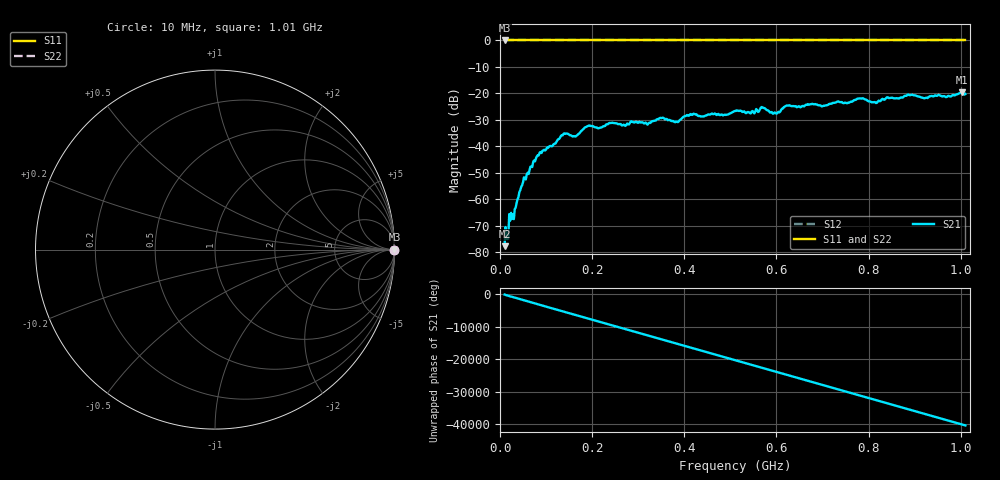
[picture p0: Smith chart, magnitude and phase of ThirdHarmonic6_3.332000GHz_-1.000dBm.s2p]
! 8/17/2025 10:28:14 AM
! C:\ANRITSUVNA\TEMP\TEMP.S2P
! CHANNEL.1
! TR.MEASUREMENT
! RAW.DATA
! RF.CORRECTION.OFF
! AVERAGING.OFF
! IF.BANDWIDTH: 5KHZ
! SWEEPTYPE:  FREQ.SWEEP(Linear)
! Reference Plane Port Info
! PORT:  PORT1  PORT2
! DISTANCE:  0  m  0  m
! TIME:  0  s  0  s
! PHASE.OFFSET:  0  deg.  0  deg.
! LOSS:  0  dB  0  dB
! REF.LOSS:  0  dB  0  dB
! REF.FREQ:  0  Hz  0  Hz
! Power Info
! POWER:  -20  dBm  -20  dBm
! EFF.POWER:  -20  dBm  -20  dBm
! SOURCE.ATTEN:  0  dB  0  dB
! TEST.ATTEN:  0  dB  0  dB
# GHZ S RI R 50.0
! FREQ.GHZ  S11RE  S11IM  S21RE  S21IM  S12RE  S12IM  S22RE  S22IM
!; PortSelection: Port_12
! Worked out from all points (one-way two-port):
!   501 points, 10 MHz to 1.01 GHz, reference 50 ohm
!   highest |S21| = -19.56 dB at 1.002 GHz (marker M1); lowest = -77.7 dB at 10 MHz (marker M2)
!   lowest |S11| = 0.0 dB at 10 MHz (marker M3)
!   |S11| at or under -10 dB: nowhere
!   |S22| runs from 0.0 to 0.0 dB; largest |S21 - S12| = 1.1
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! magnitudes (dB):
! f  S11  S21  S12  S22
! 10 MHz  0.0  -77.7  0.0  0.0
! 14 MHz  0.0  -74.8  0.0  0.0
! 24 MHz  0.0  -65.1  0.0  0.0
! 30 MHz  0.0  -67.5  0.0  0.0
! 50 MHz  0.0  -53.6  0.0  0.0
! 82 MHz  0.0  -43.4  0.0  0.0
! 136 MHz  0.0  -35.9  0.0  0.0
! 162 MHz  0.0  -36.2  0.0  0.0
! 178 MHz  0.0  -33.9  0.0  0.0
! 344 MHz  0.0  -29.7  0.0  0.0
! 382 MHz  0.0  -30.7  0.0  0.0
! 416 MHz  0.0  -28.1  0.0  0.0
! 510 MHz  0.0  -26.6  0.0  0.0
! 570 MHz  0.0  -25.3  0.0  0.0
! 596 MHz  0.0  -27.2  0.0  0.0
! 624 MHz  0.0  -24.6  0.0  0.0
! 678 MHz  0.0  -23.9  0.0  0.0
! 784 MHz  0.0  -22.0  0.0  0.0
! 814 MHz  0.0  -23.3  0.0  0.0
! 844 MHz  0.0  -21.8  0.0  0.0
! 1.002 GHz  0.0  -19.6  0.0  0.0
! 1.01 GHz  0.0  -20.2  0.0  0.0
